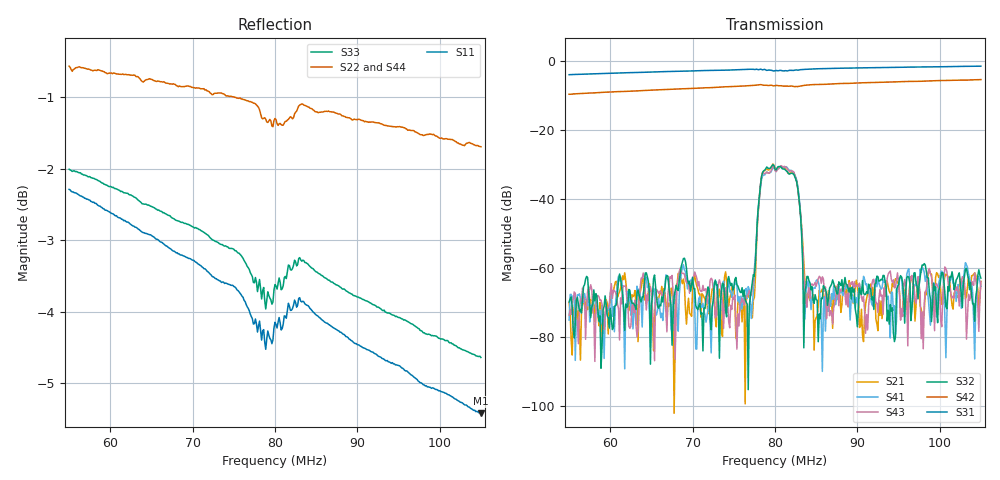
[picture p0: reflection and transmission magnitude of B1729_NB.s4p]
#  HZ  S  RI  R  50.0000
! Rohde & Schwarz ZVA/B
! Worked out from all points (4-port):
!   401 points, 55 MHz to 105 MHz, reference 50 ohm
!   strongest paths, dB at 55 MHz, 67.5 MHz, 80 MHz, 92.5 MHz, 105 MHz:
!     S31: -4.0, -3.0, -2.8, -1.9, -1.5
!     S42: -9.7, -8.2, -7.2, -6.2, -5.4
!     S32: -69.9, -82.5, -31.4, -62.6, -63.0
!     S43: -73.8, -62.2, -31.7, -73.0, -64.1
!     S41: -75.2, -79.0, -31.8, -63.3, -65.4
!     S21: -70.2, -66.0, -31.3, -78.3, -64.0
!   lowest |S11| = -5.4 dB at 105 MHz (marker M1), VSWR 3.31, Z = 47.8 - j62 ohm
!   |S11| at or under -10 dB: nowhere
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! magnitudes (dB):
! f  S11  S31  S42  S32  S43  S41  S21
! 55 MHz  -2.3  -4.0  -9.7  -69.9  -73.8  -75.2  -70.2
! 76.75 MHz  -4.0  -2.4  -7.2  -95.4  -67.7  -65.5  -68.5
! 78.5 MHz  -4.3  -2.6  -7.0  -32.3  -32.7  -33.3  -32.4
! 81 MHz  -4.2  -2.9  -7.3  -31.4  -30.8  -30.9  -31.1
! 83.75 MHz  -3.9  -2.4  -7.0  -65.4  -70.1  -67.5  -64.5
! 85.88 MHz  -4.1  -2.2  -6.8  -65.2  -63.3  -71.9  -67.4
! 105 MHz  -5.4  -1.5  -5.4  -63.0  -64.1  -65.4  -64.0
